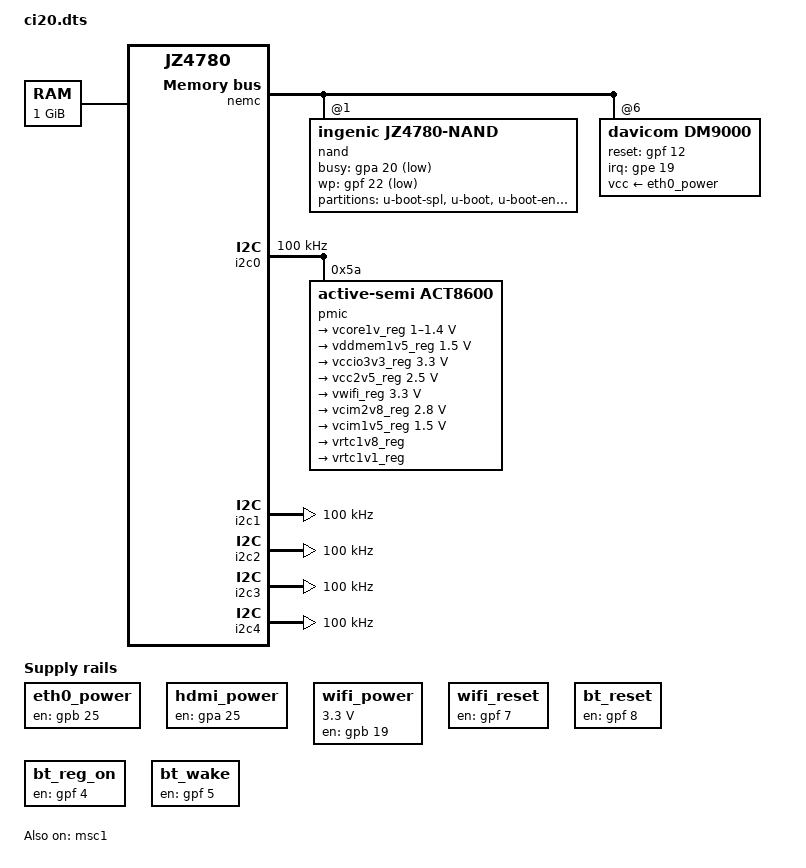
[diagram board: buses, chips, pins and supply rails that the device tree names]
/dts-v1/;
#include <dt-bindings/gpio/gpio.h>
#include "jz4780.dtsi"

/ {
	compatible = "imgtec,ci20", "ingenic,jz4780";

	memory {
		device_type = "memory";
		reg = <0x0 0x10000000
		       0x30000000 0x30000000>;
	};

	audio: audio-ci20 {
		compatible = "ingenic,ci20-audio";
		ingenic,i2s-controller = <&i2s>;
		ingenic,codec = <&codec>;
	};

	eth0_power: fixedregulator@0 {
		compatible = "regulator-fixed";
		regulator-name = "eth0_power";
		gpio = <&gpb 25 GPIO_ACTIVE_LOW>;
		enable-active-high;
	};

	hdmi_power: fixedregulator@1 {
		compatible = "regulator-fixed";
		regulator-name = "hdmi_power";
		gpio = <&gpa 25 GPIO_ACTIVE_LOW>;
		enable-active-high;
		regulator-always-on;
	};

	wifi_power: fixedregulator@2 {
		compatible = "regulator-fixed";
		regulator-name = "wifi_power_gpio";
		gpio = <&gpb 19 0>;
		enable-active-high;

		regulator-min-microvolt = <3300000>;
		regulator-max-microvolt = <3300000>;

	};

	/* HACK: Keeping wifi reset high. No simple driver fix */
	wifi_reset: fixedregulator@3 {
		compatible = "regulator-fixed";
		regulator-name = "wifi_reset_gpio";
		gpio = <&gpf 7 0>;
		enable-active-high;
		regulator-always-on;
	};

	/* HACK: Keeping BT reset high. No simple driver fix */
	bt_reset: fixedregulator@4 {
		compatible = "regulator-fixed";
		regulator-name = "bt_reset_gpio";
		gpio = <&gpf 8 0>;
		enable-active-high;
		regulator-always-on;
	};

	/* HACK: Keeping BT_reg_on high. No simple driver fix */
	bt_reg_on: fixedregulator@5 {
		compatible = "regulator-fixed";
		regulator-name = "bt_reg_on_gpio";
		gpio = <&gpf 4 0>;
		enable-active-high;
		regulator-always-on;
	};

	/* HACK: Keeping BT wake high. No simple driver fix */
	bt_wake: fixedregulator@6 {
		compatible = "regulator-fixed";
		regulator-name = "bt_wake_gpio";
		gpio = <&gpf 5 0>;
		enable-active-high;
		regulator-always-on;
	};
};

&ext {
	clock-frequency = <48000000>;
};

&msc0 {
	bus-width = <4>;
	max-frequency = <48000000>;
	cd-gpios = <&gpf 20 GPIO_ACTIVE_LOW>;

	pinctrl-names = "default";
	pinctrl-0 = <&pins_msc0_pe>;
};

&msc1 {
	bus-width = <4>;
	max-frequency = <24000000>;
	status = "okay";

	pinctrl-names = "default";
	pinctrl-0 = <&pins_msc1_pd>;
	vmmc-supply = <&wifi_power>;
};

&ehci {
	ingenic,vbus-gpio = <&gpf 15 0>;
};

&ohci {
	ingenic,vbus-gpio = <&gpf 15 0>;
};

&nemc {
	/*
	 * Only CLE/ALE are needed for the devices that are connected, rather
	 * than the full address line set.
	 */
	pinctrl-names = "default";
	pinctrl-0 = <&pins_nemc_data &pins_nemc_cle_ale &pins_nemc_frd_fwe>;

	nand: nand@1 {
		compatible = "ingenic,jz4780-nand";
		reg = <1 0 0x1000000>;

		ingenic,nemc-tAS = <10>;
		ingenic,nemc-tAH = <5>;
		ingenic,nemc-tBP = <10>;
		ingenic,nemc-tAW = <15>;
		ingenic,nemc-tSTRV = <100>;

		ingenic,bch-device = <&bch>;
		ingenic,ecc-size = <1024>;
		ingenic,ecc-strength = <24>;

		ingenic,busy-gpio = <&gpa 20 GPIO_ACTIVE_LOW>;
		ingenic,wp-gpio = <&gpf 22 GPIO_ACTIVE_LOW>;

		pinctrl-names = "default";
		pinctrl-0 = <&pins_nemc_cs1>;

		#address-cells = <2>;
		#size-cells = <2>;

		partition@0 {
			label = "u-boot-spl";
			reg = <0x0 0x0 0x0 0x800000>;
		};

		partition@0x800000 {
			label = "u-boot";
			reg = <0x0 0x800000 0x0 0x200000>;
		};

		partition@0xa00000 {
			label = "u-boot-env";
			reg = <0x0 0xa00000 0x0 0x200000>;
		};

		partition@0xc00000 {
			label = "system";
			reg = <0x0 0xc00000 0x1 0xff400000>;
		};
	};

	dm9000@6 {
		compatible = "davicom,dm9000";

		reg = <6 0x0 1   /* addr */
		       6 0x2 1>; /* data */

		ingenic,nemc-tAS = <15>;
		ingenic,nemc-tAH = <10>;
		ingenic,nemc-tBP = <20>;
		ingenic,nemc-tAW = <50>;
		ingenic,nemc-tSTRV = <100>;

		reset-gpios = <&gpf 12 GPIO_ACTIVE_HIGH>;
		vcc-supply = <&eth0_power>;

		interrupt-parent = <&gpe>;
		interrupts = <19 0x4>;
	};
};

&i2c0 {
	clock-frequency = <100000>;
	pinctrl-names = "default";
	pinctrl-0 = <&pins_i2c0_data>;

	pmic: act8600@5a {
		compatible = "active-semi,act8600";
		reg = <0x5a>;

		regulators {
			vcore1v_reg: DCDC_REG1 {
				regulator-name = "vcore1v2";
				regulator-min-microvolt = <1000000>;
				regulator-max-microvolt = <1400000>;
				regulator-always-on;
			};

			vddmem1v5_reg: DCDC_REG2 {
				regulator-name = "vddmem1v5";
				regulator-min-microvolt = <1500000>;
				regulator-max-microvolt = <1500000>;
				regulator-always-on;
			};

			vccio3v3_reg: DCDC_REG3 {
				regulator-name = "vccio3v3";
				regulator-min-microvolt = <3300000>;
				regulator-max-microvolt = <3300000>;
				regulator-always-on;
			};

			vcc2v5_reg: LDO_REG5 {
				regulator-name = "vcc2.5";
				regulator-min-microvolt = <2500000>;
				regulator-max-microvolt = <2500000>;
				regulator-always-on;
			};

			vwifi_reg: LDO_REG6 {
				regulator-name = "vwifi3v3";
				regulator-min-microvolt = <3300000>;
				regulator-max-microvolt = <3300000>;
			};

			vcim2v8_reg: LDO_REG7 {
				regulator-name = "vcim2v8";
				regulator-min-microvolt = <2800000>;
				regulator-max-microvolt = <2800000>;
			};

			vcim1v5_reg: LDO_REG8 {
				regulator-name = "vcim1v5";
				regulator-min-microvolt = <1500000>;
				regulator-max-microvolt = <1500000>;
			};

			/* Do not disable RTC as they connect to reset line */
			vrtc1v8_reg: LDO_REG9 {
				regulator-name = "vrtc1v8";
				regulator-always-on;
			};

			vrtc1v1_reg: LDO_REG10 {
				regulator-name = "vrtc1v2";
				regulator-always-on;
			};
		};
	};
};

&i2c1 {
	clock-frequency = <100000>;
	pinctrl-names = "default";
	pinctrl-0 = <&pins_i2c1_data>;
};

&i2c2 {
	clock-frequency = <100000>;
	pinctrl-names = "default";
	pinctrl-0 = <&pins_i2c2_data>;
};

&i2c3 {
	clock-frequency = <100000>;
	pinctrl-names = "default";
	pinctrl-0 = <&pins_i2c3_data>;
};

&i2c4 {
	clock-frequency = <100000>;
	pinctrl-names = "default";
	pinctrl-0 = <&pins_i2c4_data_pf>;
};
